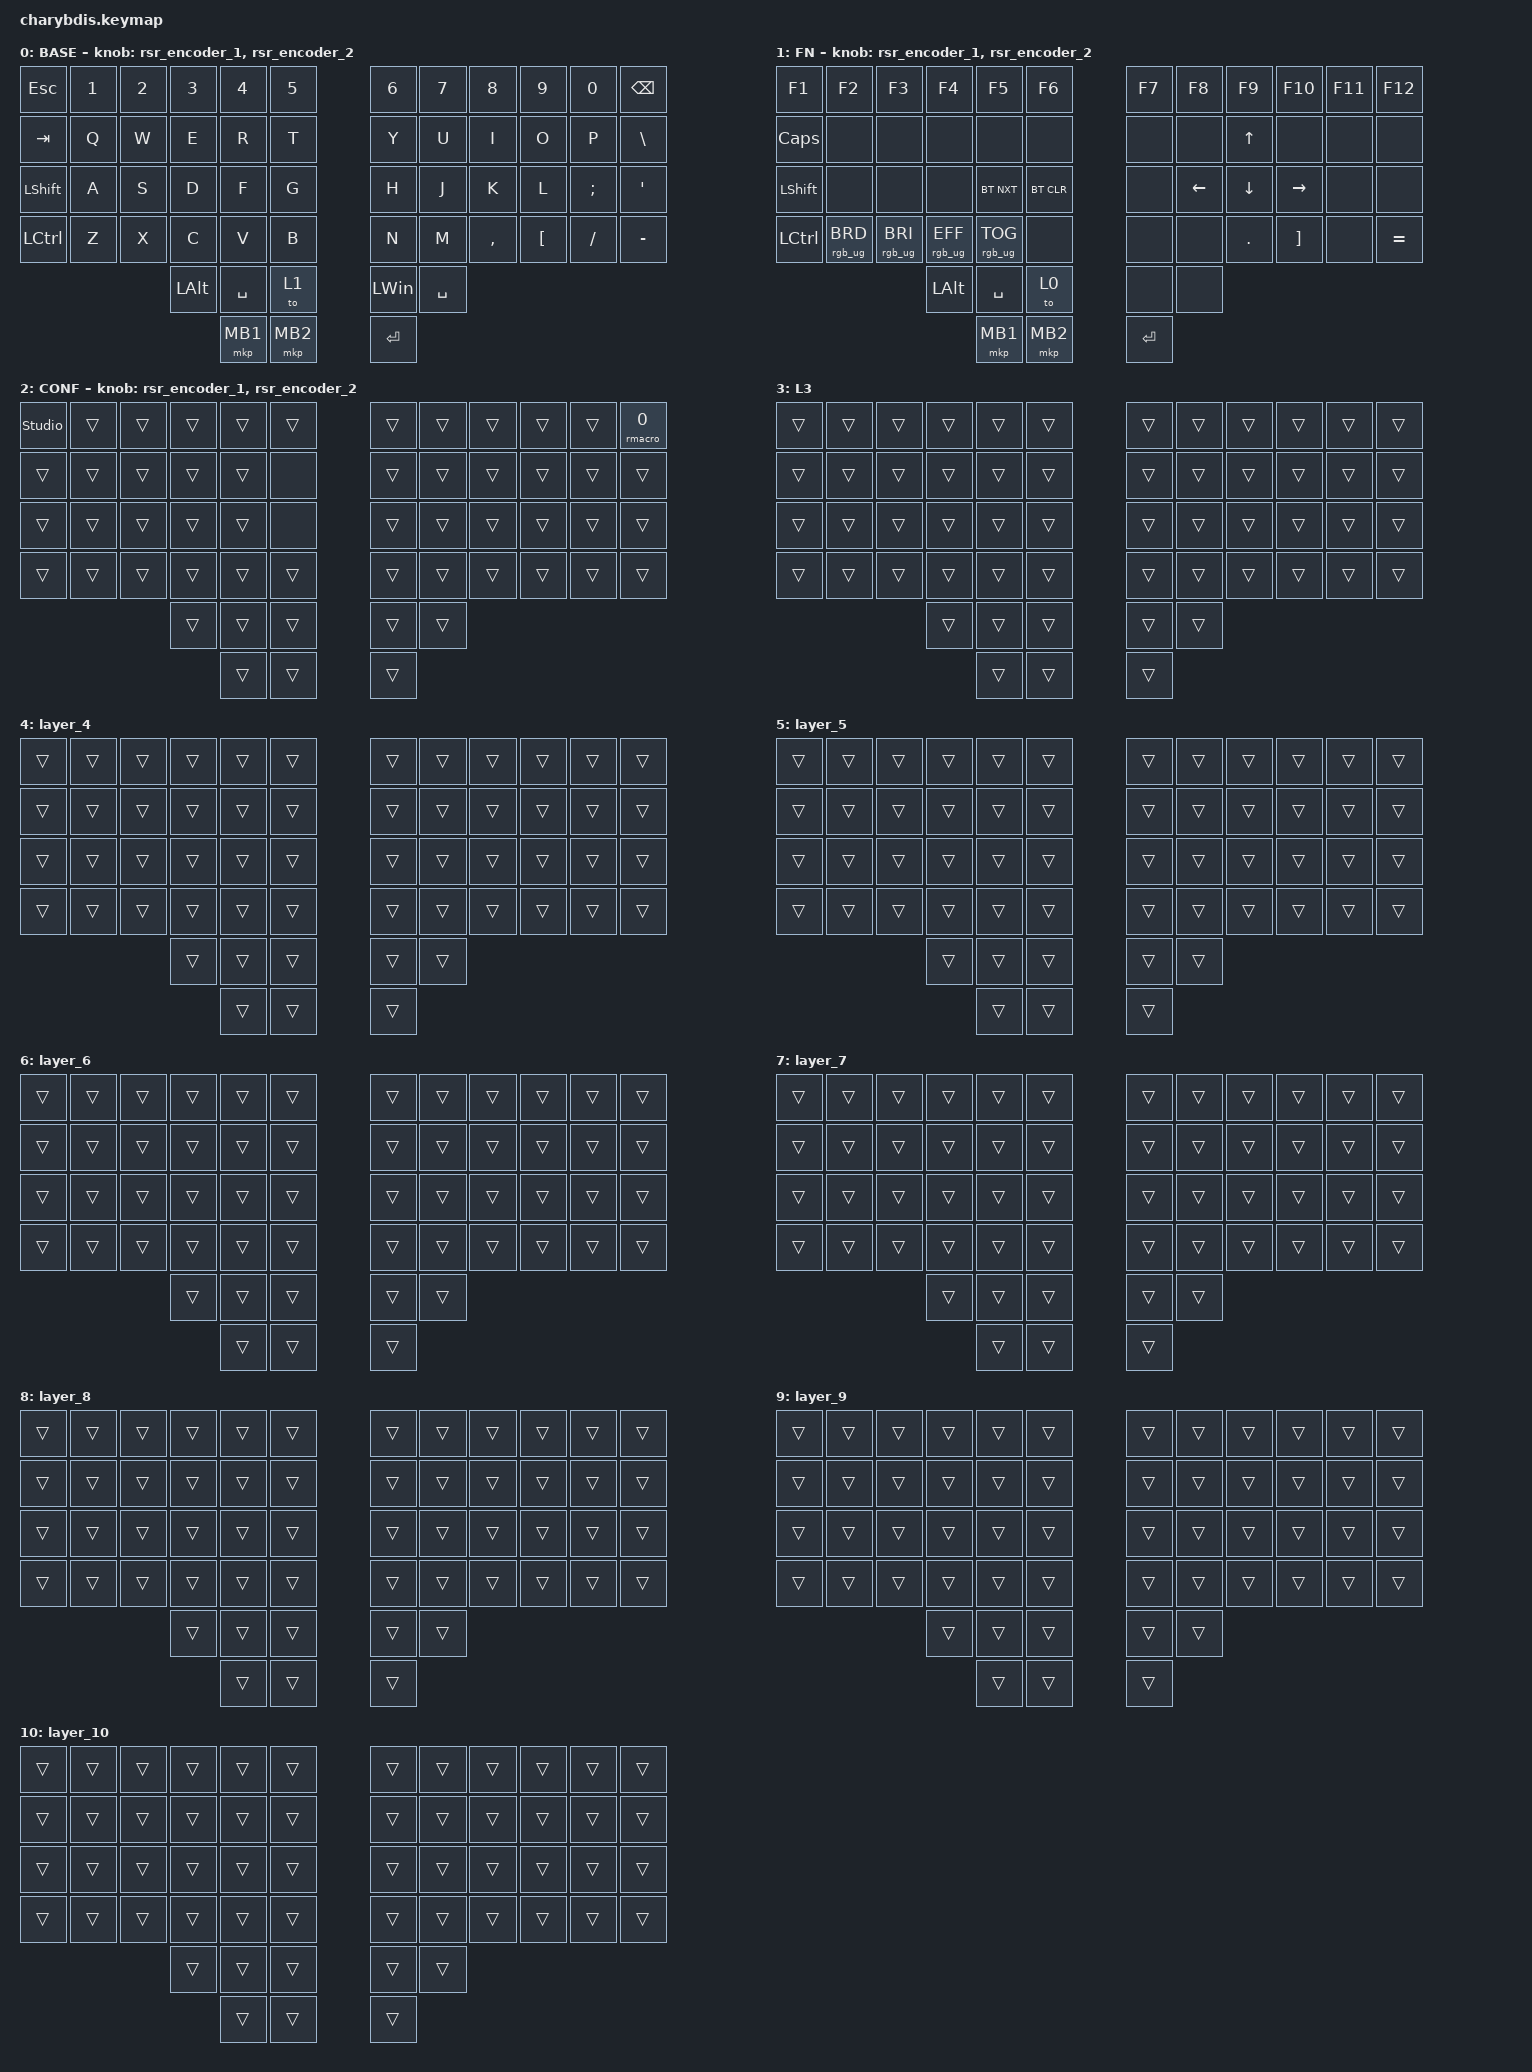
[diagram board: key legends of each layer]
#define ZMK_POINTING_DEFAULT_SCRL_VAL 25
#include <dt-bindings/zmk/mouse.h>
#include <input/processors.dtsi>
#include <zephyr/dt-bindings/input/input-event-codes.h>
#include <behaviors.dtsi>
#include <behaviors/runtime_macro.dtsi>
#include <behaviors/runtime-sensor-rotate.dtsi>
#include <dt-bindings/zmk/bt.h>
#include <dt-bindings/zmk/keys.h>
#include <dt-bindings/zmk/pointing.h>
#include <dt-bindings/zmk/rgb.h>




&lt {
    tapping-term-ms = <200>;
    flavor = "balanced";
    quick-tap-ms = <150>;
};


&msc {
    acceleration-exponent = <0>;      // 0
    time-to-max-speed-ms = <30>;       // 300
    delay-ms = <0>;                   // 0
};



/ {
    // 上下滚动编码器行为（静态，作为 runtime 的 fallback）

    scroll_vertical_encoder: scroll_vertical_encoder {
        compatible = "zmk,behavior-sensor-rotate";
        #sensor-binding-cells = <0>;
        bindings = <&msc SCRL_DOWN>, <&msc SCRL_UP>;

        tap-ms = <64>;
    };

    // 左右滚动编码器行为（静态，作为 runtime 的 fallback）

    scroll_horizontal_encoder: scroll_horizontal_encoder {
        compatible = "zmk,behavior-sensor-rotate";
        #sensor-binding-cells = <0>;
        bindings = <&msc SCRL_LEFT>, <&msc SCRL_RIGHT>;

        tap-ms = <64>;
    };

    behaviors {
        // 运行时旋钮行为（DYA：可在 Studio 里按层在线改绑定）
        // 默认 fallback 与静态 scroll_vertical_encoder 一致（上下滚动）
        rsr_encoder_1: rsr_encoder_1 {
            compatible = "zmk,behavior-runtime-sensor-rotate";
            #sensor-binding-cells = <0>;
            tap-ms = <5>;
            cw-binding = <&msc SCRL_DOWN>;
            ccw-binding = <&msc SCRL_UP>;
        };

        rsr_encoder_2: rsr_encoder_2 {
            compatible = "zmk,behavior-runtime-sensor-rotate";
            #sensor-binding-cells = <0>;
            tap-ms = <5>;
            cw-binding = <&msc SCRL_LEFT>;
            ccw-binding = <&msc SCRL_RIGHT>;
        };
    };

    macros {
        To1_macro: To1_macro {
            compatible = "zmk,behavior-macro";
            label = "To1_macro";
            #binding-cells = <0>;
            bindings = <&rgb_ug RGB_EFF &rgb_ug RGB_COLOR_HSB(128,100,50) &to 1>;
        };

        To1_macro_A: To1_macro_A {
            compatible = "zmk,behavior-macro";
            label = "To1_macro_A";
            #binding-cells = <0>;
            bindings = <&rgb_ug RGB_COLOR_HSB(128,100,50) &to 1>;
        };

        To0_macro: To0_macro {
            compatible = "zmk,behavior-macro";
            label = "To0_macro";
            #binding-cells = <0>;
            bindings = <&rgb_ug RGB_EFR &to 0>;
        };

        To2_macro_A: To2_macro_A {
            compatible = "zmk,behavior-macro";
            label = "To2_macro_A";
            #binding-cells = <0>;
            bindings = <&rgb_ug RGB_COLOR_HSB(250,100,50) &to 2>;
        };

        To2_macro: To2_macro {
            compatible = "zmk,behavior-macro";
            label = "To2_macro";
            #binding-cells = <0>;
            bindings = <&rgb_ug RGB_EFF &rgb_ug RGB_COLOR_HSB(250,100,50) &to 2>;
        };
    };

    keymap {
        compatible = "zmk,keymap";

        layer_0 {
            display-name = "BASE";
            bindings = <
&kp ESC         &kp N1  &kp N2  &kp N3        &kp N4     &kp N5      &kp N6     &kp N7     &kp N8     &kp N9            &kp N0    &kp BACKSPACE
&kp TAB         &kp Q   &kp W   &kp E         &kp R      &kp T       &kp Y      &kp U      &kp I      &kp O             &kp P     &kp BSLH
&kp LEFT_SHIFT  &kp A   &kp S   &kp D         &kp F      &kp G       &kp H      &kp J      &kp K      &kp L             &kp SEMI  &kp SQT
&kp LCTRL       &kp Z   &kp X   &kp C         &kp V      &kp B       &kp N      &kp M      &kp COMMA  &kp LEFT_BRACKET  &kp FSLH  &kp MINUS
                                &kp LEFT_ALT  &kp SPACE  &to 1       &kp LWIN   &kp SPACE
                                              &mkp MB1   &mkp MB2    &kp ENTER
            >;

            sensor-bindings = <&rsr_encoder_1 &rsr_encoder_2>;
        };

        layer_1 {
            display-name = "FN";
            bindings = <
&kp F1          &kp F2           &kp F3           &kp F4           &kp F5           &kp F6        &kp F7     &kp F8    &kp F9      &kp F10            &kp F11  &kp F12
&kp CAPS        &none            &none            &none            &none            &none         &none      &none     &kp UP      &none              &none    &none
&kp LEFT_SHIFT  &none            &none            &none            &bt BT_NXT       &bt BT_CLR    &none      &kp LEFT  &kp DOWN    &kp RIGHT          &none    &none
&kp LCTRL       &rgb_ug RGB_BRD  &rgb_ug RGB_BRI  &rgb_ug RGB_EFF  &rgb_ug RGB_TOG  &none         &none      &none     &kp PERIOD  &kp RIGHT_BRACKET  &none    &kp EQUAL
                                                  &kp LEFT_ALT     &kp SPACE        &to 0         &none      &none
                                                                   &mkp MB1         &mkp MB2      &kp ENTER
            >;
            sensor-bindings = <&rsr_encoder_1 &rsr_encoder_2>;
        };

        layer_2 {
            display-name = "CONF";
            bindings = <
&studio_unlock  &trans  &trans  &trans  &trans  &trans    &trans  &trans  &trans  &trans  &trans  &rmacro 0
&trans          &trans  &trans  &trans  &trans  &none     &trans  &trans  &trans  &trans  &trans  &trans
&trans          &trans  &trans  &trans  &trans  &none     &trans  &trans  &trans  &trans  &trans  &trans
&trans          &trans  &trans  &trans  &trans  &trans    &trans  &trans  &trans  &trans  &trans  &trans
                        &trans  &trans  &trans    &trans  &trans
                                &trans  &trans    &trans
            >;
            sensor-bindings = <&rsr_encoder_1 &rsr_encoder_2>;
        };

        layer_3 {
            display-name = "L3";
            bindings = <
&trans  &trans  &trans  &trans  &trans  &trans    &trans  &trans  &trans  &trans  &trans  &trans
&trans  &trans  &trans  &trans  &trans  &trans    &trans  &trans  &trans  &trans  &trans  &trans
&trans  &trans  &trans  &trans  &trans  &trans    &trans  &trans  &trans  &trans  &trans  &trans
&trans  &trans  &trans  &trans  &trans  &trans    &trans  &trans  &trans  &trans  &trans  &trans
                        &trans  &trans  &trans    &trans  &trans
                                &trans  &trans    &trans
            >;
        };

        layer_4 {
            bindings = <
&trans  &trans  &trans  &trans  &trans  &trans    &trans  &trans  &trans  &trans  &trans  &trans
&trans  &trans  &trans  &trans  &trans  &trans    &trans  &trans  &trans  &trans  &trans  &trans
&trans  &trans  &trans  &trans  &trans  &trans    &trans  &trans  &trans  &trans  &trans  &trans
&trans  &trans  &trans  &trans  &trans  &trans    &trans  &trans  &trans  &trans  &trans  &trans
                        &trans  &trans  &trans    &trans  &trans
                                &trans  &trans    &trans
            >;
        };

        layer_5 {
            bindings = <
&trans  &trans  &trans  &trans  &trans  &trans    &trans  &trans  &trans  &trans  &trans  &trans
&trans  &trans  &trans  &trans  &trans  &trans    &trans  &trans  &trans  &trans  &trans  &trans
&trans  &trans  &trans  &trans  &trans  &trans    &trans  &trans  &trans  &trans  &trans  &trans
&trans  &trans  &trans  &trans  &trans  &trans    &trans  &trans  &trans  &trans  &trans  &trans
                        &trans  &trans  &trans    &trans  &trans
                                &trans  &trans    &trans
            >;
        };

        layer_6 {
            bindings = <
&trans  &trans  &trans  &trans  &trans  &trans    &trans  &trans  &trans  &trans  &trans  &trans
&trans  &trans  &trans  &trans  &trans  &trans    &trans  &trans  &trans  &trans  &trans  &trans
&trans  &trans  &trans  &trans  &trans  &trans    &trans  &trans  &trans  &trans  &trans  &trans
&trans  &trans  &trans  &trans  &trans  &trans    &trans  &trans  &trans  &trans  &trans  &trans
                        &trans  &trans  &trans    &trans  &trans
                                &trans  &trans    &trans
            >;
        };

        layer_7 {
            bindings = <
&trans  &trans  &trans  &trans  &trans  &trans    &trans  &trans  &trans  &trans  &trans  &trans
&trans  &trans  &trans  &trans  &trans  &trans    &trans  &trans  &trans  &trans  &trans  &trans
&trans  &trans  &trans  &trans  &trans  &trans    &trans  &trans  &trans  &trans  &trans  &trans
&trans  &trans  &trans  &trans  &trans  &trans    &trans  &trans  &trans  &trans  &trans  &trans
                        &trans  &trans  &trans    &trans  &trans
                                &trans  &trans    &trans
            >;
        };

        layer_8 {
            bindings = <
&trans  &trans  &trans  &trans  &trans  &trans    &trans  &trans  &trans  &trans  &trans  &trans
&trans  &trans  &trans  &trans  &trans  &trans    &trans  &trans  &trans  &trans  &trans  &trans
&trans  &trans  &trans  &trans  &trans  &trans    &trans  &trans  &trans  &trans  &trans  &trans
&trans  &trans  &trans  &trans  &trans  &trans    &trans  &trans  &trans  &trans  &trans  &trans
                        &trans  &trans  &trans    &trans  &trans
                                &trans  &trans    &trans
            >;
        };

        layer_9 {
            bindings = <
&trans  &trans  &trans  &trans  &trans  &trans    &trans  &trans  &trans  &trans  &trans  &trans
&trans  &trans  &trans  &trans  &trans  &trans    &trans  &trans  &trans  &trans  &trans  &trans
&trans  &trans  &trans  &trans  &trans  &trans    &trans  &trans  &trans  &trans  &trans  &trans
&trans  &trans  &trans  &trans  &trans  &trans    &trans  &trans  &trans  &trans  &trans  &trans
                        &trans  &trans  &trans    &trans  &trans
                                &trans  &trans    &trans
            >;
        };

        layer_10 {
            bindings = <
&trans  &trans  &trans  &trans  &trans  &trans    &trans  &trans  &trans  &trans  &trans  &trans
&trans  &trans  &trans  &trans  &trans  &trans    &trans  &trans  &trans  &trans  &trans  &trans
&trans  &trans  &trans  &trans  &trans  &trans    &trans  &trans  &trans  &trans  &trans  &trans
&trans  &trans  &trans  &trans  &trans  &trans    &trans  &trans  &trans  &trans  &trans  &trans
                        &trans  &trans  &trans    &trans  &trans
                                &trans  &trans    &trans
            >;
        };
    };
};
